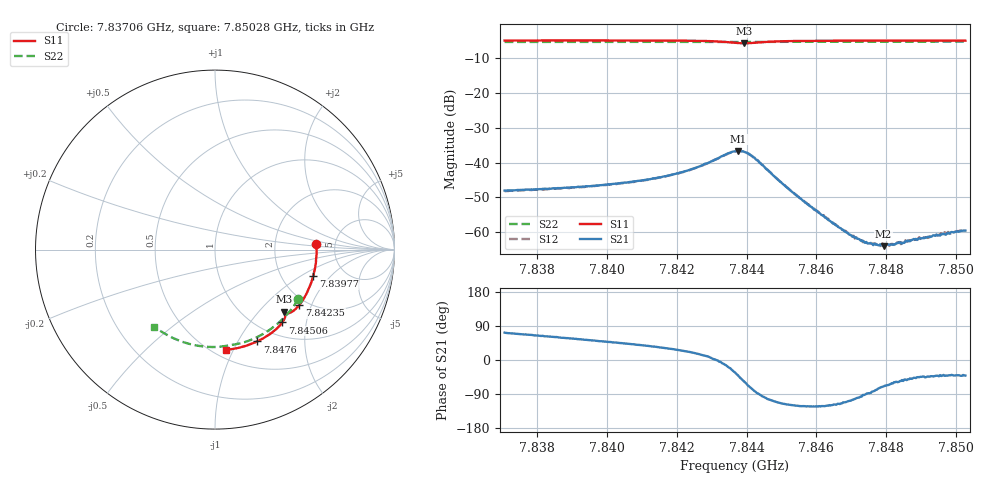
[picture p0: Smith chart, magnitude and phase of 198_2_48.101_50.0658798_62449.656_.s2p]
#  HZ  S  RI  R  50.00
! Rohde & Schwarz Vector Network Analyzer
! Rohde-Schwarz,ZNB20-2Port,1311601062101988,3.16
! Created: UTC 12/23/2023, 3:54:28 AM
! freq[Hz]  re:S11  im:S11  re:S21  im:S21  re:S12  im:S12  re:S22  im:S22
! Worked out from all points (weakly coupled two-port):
!   401 points, 7.83706 GHz to 7.85028 GHz, reference 50 ohm
!   highest |S21| = -36.65 dB at 7.84377 GHz (marker M1); lowest = -64.0 dB at 7.84793 GHz (marker M2)
!   lowest |S11| = -5.7 dB at 7.84393 GHz (marker M3), VSWR 3.13, Z = 73.4 - j69.2 ohm
!   |S11| at or under -10 dB: nowhere
!   |S22| runs from -5.4 to -5.3 dB; largest |S21 - S12| = 0.00039
!   S11 on the Smith chart (normalised r, x): 7.83706 GHz: 3.58, +0.34; 7.83977 GHz: 3.00, -1.30; 7.84235 GHz: 1.82, -1.64; 7.84506 GHz: 1.25, -1.46; 7.8476 GHz: 0.81, -1.21; 7.85028 GHz: 0.57, -0.94
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7.837059e9  0.5654 0.032  0.00122 0.00376  0.00123 0.00369  0.4651 -0.2736
7.839274e9  0.5552 -0.1148  0.00263 0.00365  0.00257 0.0036  0.3691 -0.3949
7.83977e9  0.5474 -0.1472  0.00302 0.0036  0.00299 0.00359  0.3429 -0.4178
7.840728e9  0.5267 -0.2087  0.00398 0.00353  0.00396 0.00348  0.2885 -0.4575
7.841488e9  0.504 -0.2564  0.0051 0.00338  0.00503 0.00339  0.2422 -0.484
7.842347e9  0.4702 -0.3082  0.00724 0.00286  0.00717 0.00285  0.1869 -0.5081
7.843174e9  0.4218 -0.3503  0.0114 -0.000177  0.0114 -0.000186  0.131 -0.5244
7.843669e9  0.387 -0.3528  0.0122 -0.00781  0.0121 -0.00793  0.0979 -0.5301
7.843768e9  0.3836 -0.3499  0.011 -0.00979  0.011 -0.00962  0.0915 -0.5311
7.843934e9  0.3832 -0.3459  0.00774 -0.012  0.00788 -0.012  0.081 -0.5329
7.844264e9  0.3914 -0.3533  0.00111 -0.0111  0.00111 -0.0111  0.0597 -0.537
7.845057e9  0.3753 -0.4058  -0.00209 -0.00437  -0.00205 -0.00441  0.00433 -0.5426
7.845884e9  0.3344 -0.4491  -0.00123 -0.0019  -0.00124 -0.00192  -0.0541 -0.541
7.846677e9  0.2899 -0.4814  -0.000508 -0.00103  -0.000501 -0.00102  -0.1093 -0.5332
7.84704e9  0.2687 -0.4941  -0.000221 -0.000829  -0.000232 -0.000842  -0.1341 -0.5276
7.847404e9  0.2469 -0.5056  -1.5e-05 -0.000707  -2.55e-05 -0.000703  -0.1588 -0.5209
7.847602e9  0.2347 -0.5116  7.87e-05 -0.000676  5.85e-05 -0.000678  -0.1721 -0.5169
7.8478e9  0.2225 -0.5169  0.000174 -0.000623  0.000141 -0.00063  -0.1853 -0.5124
7.847933e9  0.2143 -0.5205  0.000217 -0.000591  0.000238 -0.000593  -0.1939 -0.5093
7.848098e9  0.2043 -0.5247  0.000282 -0.000597  0.000269 -0.000575  -0.2049 -0.5051
7.84975e9  0.0982 -0.554  0.000715 -0.000629  0.000733 -0.000642  -0.3071 -0.4511
7.850279e9  0.0631 -0.5589  0.000794 -0.000692  0.000826 -0.000666  -0.3372 -0.4296
